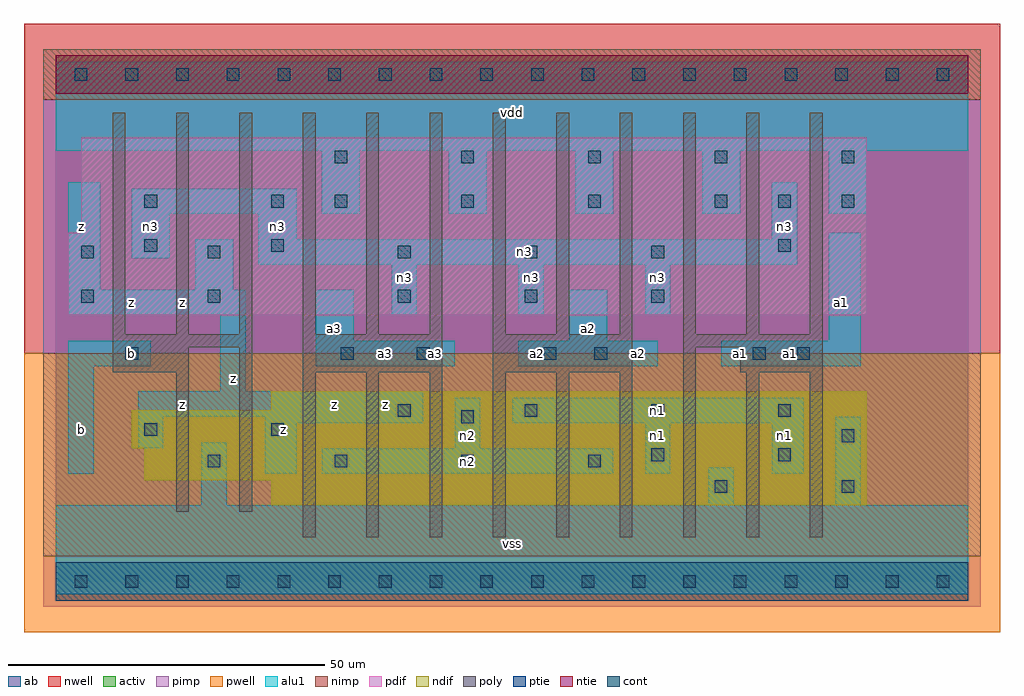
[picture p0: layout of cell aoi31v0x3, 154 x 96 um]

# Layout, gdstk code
import gdstk
lib = gdstk.Library(unit=1e-6, precision=1e-09)
def R(c, l, rs):  # rectangles x0, y0, x1, y1
    for r in rs: c.add(gdstk.rectangle(r[:2], r[2:], *l))
def A(c, l, x, y, w, h, nx, ny, dx, dy):  # array of equal rectangles
    R(c, l, [(x+i*dx, y+j*dy, x+i*dx+w, y+j*dy+h) for i in range(nx) for j in range(ny)])
ndif = (3, 0)
pdif = (4, 0)
ntie = (5, 0)
ptie = (6, 0)
cont = (25, 0)
pwell = (41, 0)
nwell = (42, 0)
activ = (43, 0)
pimp = (44, 0)
nimp = (45, 0)
poly = (46, 0)
alu1 = (49, 0)
ab = (63, 0)

aoi31v0x3 = lib.new_cell('aoi31v0x3')
R(aoi31v0x3, ndif, [(34,12,128,16), (14,16,128,21), (12,21,128,27), (34,27,128,30)])
R(aoi31v0x3, pdif, [(2,42,128,55), (4,55,128,70)])
R(aoi31v0x3, ntie, [(0,77,144,83)])
R(aoi31v0x3, ptie, [(0,-3,144,3)])
A(aoi31v0x3, cont, 3, -1, 2, 2, 18, 2, 8, 80)
A(aoi31v0x3, cont, 24, 18, 2, 2, 4, 1, 20, 0)
A(aoi31v0x3, cont, 54, 26, 2, 2, 4, 1, 20, 0)
A(aoi31v0x3, cont, 54, 44, 2, 2, 3, 2, 20, 7)
A(aoi31v0x3, cont, 44, 59, 2, 2, 4, 1, 20, 0)
A(aoi31v0x3, cont, 44, 66, 2, 2, 5, 1, 20, 0)
R(aoi31v0x3, cont, [(104,14,106,16), (124,14,126,16), (94,19,96,21), (114,19,116,21), (124,22,126,24), (14,23,16,25), (34,23,36,25), (64,25,66,27), (11,35,13,37), (45,35,47,37), (57,35,59,37), (77,35,79,37), (85,35,87,37), (110,35,112,37), (117,35,119,37), (4,44,6,46), (24,44,26,46), (4,51,6,53), (24,51,26,53), (14,52,16,54), (34,52,36,54), (114,52,116,54), (14,59,16,61), (34,59,36,61), (114,59,116,61), (124,59,126,61)])
R(aoi31v0x3, pwell, [(-5,-8,149,36)])
R(aoi31v0x3, nwell, [(-5,36,149,88)])
R(aoi31v0x3, activ, [(0,-3,144,3), (34,12,128,16), (14,16,128,21), (12,21,128,27), (34,27,128,30), (2,42,128,55), (4,55,128,70), (0,77,144,83)])
R(aoi31v0x3, pimp, [(-2,-4,146,4), (-2,36,146,76)])
R(aoi31v0x3, nimp, [(-2,4,146,36), (-2,76,146,84)])
A(aoi31v0x3, poly, 39, 7, 2, 26, 6, 1, 10, 0)
A(aoi31v0x3, poly, 9, 39, 2, 35, 12, 1, 10, 0)
R(aoi31v0x3, poly, [(99,7,101,37), (109,7,111,33), (119,7,121,33), (19,11,21,33), (29,11,31,37), (9,33,21,37), (39,33,61,39), (69,33,91,39), (108,33,121,37), (9,37,31,39), (99,37,121,39)])
A(aoi31v0x3, alu1, 41, 34, 22, 4, 3, 1, 32, 0)
A(aoi31v0x3, alu1, 53, 42, 4, 8, 3, 1, 20, 0)
A(aoi31v0x3, alu1, 42, 58, 6, 10, 5, 1, 20, 0)
R(aoi31v0x3, alu1, [(0,-2,144,12), (23,12,27,22), (103,12,107,18), (123,12,127,26), (2,17,6,34), (33,17,38,25), (42,17,88,21), (93,17,97,25), (113,17,118,25), (13,21,17,26), (63,21,67,29), (33,25,58,26), (72,25,118,29), (13,26,58,30), (26,30,30,42), (2,34,15,38), (41,38,47,46), (81,38,87,46), (122,38,127,55), (2,42,30,46), (2,46,7,63), (22,46,28,54), (32,50,117,54), (12,51,18,58), (32,54,38,58), (113,54,117,63), (12,58,38,62), (0,68,144,82)])
R(aoi31v0x3, ab, [(0,0,144,80)])
aoi31v0x3.add(gdstk.Label('n3', (15,56), layer=49, texttype=0))
aoi31v0x3.add(gdstk.Label('n3', (55,48), layer=49, texttype=0))
aoi31v0x3.add(gdstk.Label('n3', (35,56), layer=49, texttype=0))
aoi31v0x3.add(gdstk.Label('n2', (65,23), layer=49, texttype=0))
aoi31v0x3.add(gdstk.Label('n3', (75,48), layer=49, texttype=0))
aoi31v0x3.add(gdstk.Label('n2', (65,19), layer=49, texttype=0))
aoi31v0x3.add(gdstk.Label('n1', (95,23), layer=49, texttype=0))
aoi31v0x3.add(gdstk.Label('n3', (95,48), layer=49, texttype=0))
aoi31v0x3.add(gdstk.Label('n1', (115,23), layer=49, texttype=0))
aoi31v0x3.add(gdstk.Label('n1', (95,27), layer=49, texttype=0))
aoi31v0x3.add(gdstk.Label('n3', (115,56), layer=49, texttype=0))
aoi31v0x3.add(gdstk.Label('n3', (74,52), layer=49, texttype=0))
aoi31v0x3.add(gdstk.Label('z', (28,32), layer=49, texttype=0))
aoi31v0x3.add(gdstk.Label('b', (12,36), layer=49, texttype=0))
aoi31v0x3.add(gdstk.Label('b', (4,24), layer=49, texttype=0))
aoi31v0x3.add(gdstk.Label('z', (20,28), layer=49, texttype=0))
aoi31v0x3.add(gdstk.Label('z', (12,44), layer=49, texttype=0))
aoi31v0x3.add(gdstk.Label('z', (20,44), layer=49, texttype=0))
aoi31v0x3.add(gdstk.Label('z', (4,56), layer=49, texttype=0))
aoi31v0x3.add(gdstk.Label('z', (36,24), layer=49, texttype=0))
aoi31v0x3.add(gdstk.Label('a3', (60,36), layer=49, texttype=0))
aoi31v0x3.add(gdstk.Label('a3', (52,36), layer=49, texttype=0))
aoi31v0x3.add(gdstk.Label('z', (52,28), layer=49, texttype=0))
aoi31v0x3.add(gdstk.Label('z', (44,28), layer=49, texttype=0))
aoi31v0x3.add(gdstk.Label('a3', (44,40), layer=49, texttype=0))
aoi31v0x3.add(gdstk.Label('vss', (72,6), layer=49, texttype=0))
aoi31v0x3.add(gdstk.Label('a2', (76,36), layer=49, texttype=0))
aoi31v0x3.add(gdstk.Label('a2', (92,36), layer=49, texttype=0))
aoi31v0x3.add(gdstk.Label('a2', (84,40), layer=49, texttype=0))
aoi31v0x3.add(gdstk.Label('vdd', (72,74), layer=49, texttype=0))
aoi31v0x3.add(gdstk.Label('a1', (108,36), layer=49, texttype=0))
aoi31v0x3.add(gdstk.Label('a1', (116,36), layer=49, texttype=0))
aoi31v0x3.add(gdstk.Label('a1', (124,44), layer=49, texttype=0))

lib.write_gds('aoi31v0x3.gds')
